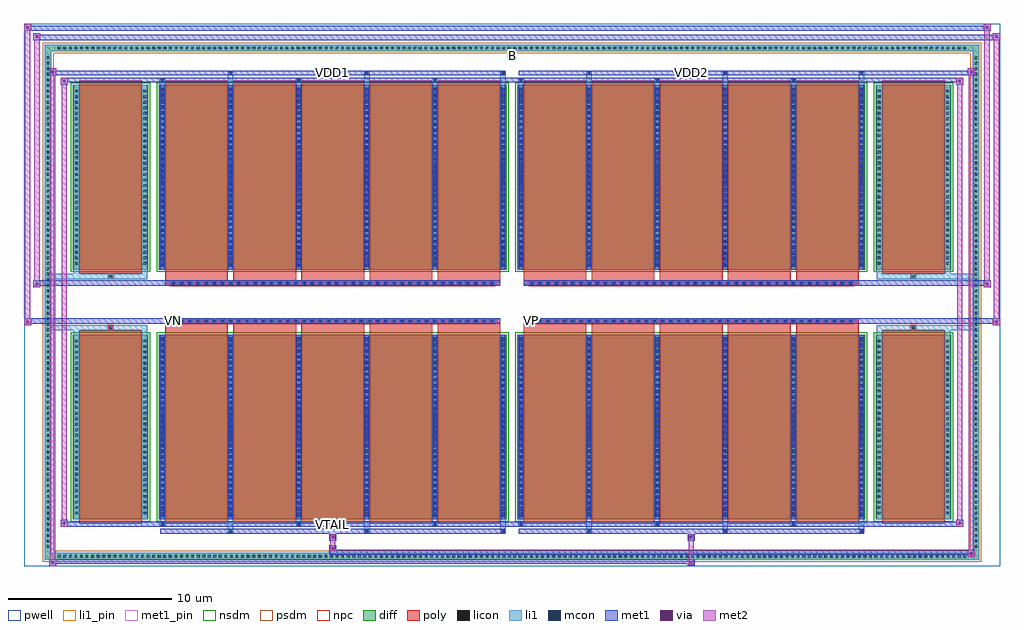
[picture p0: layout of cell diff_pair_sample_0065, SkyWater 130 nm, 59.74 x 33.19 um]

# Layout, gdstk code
import gdstk
lib = gdstk.Library(unit=1e-6, precision=5e-09)
def R(c, l, rs):  # rectangles x0, y0, x1, y1
    for r in rs: c.add(gdstk.rectangle(r[:2], r[2:], *l))
def A(c, l, x, y, w, h, nx, ny, dx, dy):  # array of equal rectangles
    R(c, l, [(x+i*dx, y+j*dy, x+i*dx+w, y+j*dy+h) for i in range(nx) for j in range(ny)])
def P(c, l, *ps):  # polygons
    for p in ps: c.add(gdstk.Polygon(p, *l))
pwell = (64, 44)
diff = (65, 20)
poly = (66, 20)
licon = (66, 44)
li1_pin = (67, 16)
li1 = (67, 20)
mcon = (67, 44)
met1_pin = (68, 16)
met1 = (68, 20)
via = (68, 44)
met2 = (69, 20)
nsdm = (93, 44)
psdm = (94, 20)
npc = (95, 20)

diff_pair_sample_0065 = lib.new_cell('diff_pair_sample_0065')
R(diff_pair_sample_0065, pwell, [(-29.87,-16.16,29.87,17.03), (-27.19,-14.35,-0.01,-0.795), (0.01,-14.35,27.19,-0.795), (-27.19,0.795,-0.01,14.35), (0.01,0.795,27.19,14.35)])
A(diff_pair_sample_0065, diff, -27.915, -15.76, 0.41, 0.41, 164, 2, 0.34, 31.11)
A(diff_pair_sample_0065, diff, -28.6, -15.165, 0.41, 0.41, 1, 89, 0, 0.34)
A(diff_pair_sample_0065, diff, 28.19, -15.165, 0.41, 0.41, 1, 89, 0, 0.34)
R(diff_pair_sample_0065, diff, [(-27.915,-15.76,27.915,-15.35), (-28.6,-15.165,-28.19,15.165), (28.19,-15.165,28.6,15.165), (-26.88,-13.305,-22.26,-1.985), (-21.62,-13.305,-0.32,-1.985), (0.32,-13.305,21.62,-1.985), (22.26,-13.305,26.88,-1.985), (-26.88,1.985,-22.26,13.305), (-21.62,1.985,-0.32,13.305), (0.32,1.985,21.62,13.305), (22.26,1.985,26.88,13.305), (-27.915,15.35,27.915,15.76)])
P(diff_pair_sample_0065, diff, [(28.6,15.76),(-28.6,15.76),(-28.6,-15.35),(-28.19,-15.35),(-28.19,15.35),(28.19,15.35),(28.19,-15.35),(-28.19,-15.35),(-28.6,-15.35),(-28.6,-15.76),(28.6,-15.76)])
A(diff_pair_sample_0065, poly, -21.23, -13.555, 3.84, 11.82, 5, 2, 4.17, 15.29)
A(diff_pair_sample_0065, poly, 0.71, -13.555, 3.84, 11.82, 5, 2, 4.17, 15.29)
A(diff_pair_sample_0065, poly, -21.23, -1.735, 3.84, 0.41, 5, 2, 4.17, 3.06)
A(diff_pair_sample_0065, poly, 0.71, -1.735, 3.84, 0.41, 5, 2, 4.17, 3.06)
A(diff_pair_sample_0065, poly, -20.885, -1.325, 0.33, 0.33, 40, 2, 0.5, 2.32)
A(diff_pair_sample_0065, poly, 1.055, -1.325, 0.33, 0.33, 40, 2, 0.5, 2.32)
R(diff_pair_sample_0065, poly, [(-26.49,-13.555,-22.65,-1.735), (22.65,-13.555,26.49,-1.735), (-24.735,-1.735,-24.405,-1.405), (-24.735,-1.735,-24.405,-1.405), (24.405,-1.735,24.735,-1.405), (24.405,-1.735,24.735,-1.405), (-21.23,-1.325,-0.71,-0.995), (0.71,-1.325,21.23,-0.995), (-21.23,0.995,-0.71,1.325), (0.71,0.995,21.23,1.325), (-24.735,1.405,-24.405,1.735), (-24.735,1.405,-24.405,1.735), (24.405,1.405,24.735,1.735), (24.405,1.405,24.735,1.735), (-26.49,1.735,-22.65,13.555), (22.65,1.735,26.49,13.555)])
A(diff_pair_sample_0065, licon, -27.795, -15.64, 0.17, 0.17, 164, 2, 0.34, 31.11)
A(diff_pair_sample_0065, licon, -28.48, -15.045, 0.17, 0.17, 1, 89, 0, 0.34)
A(diff_pair_sample_0065, licon, 28.31, -15.045, 0.17, 0.17, 1, 89, 0, 0.34)
A(diff_pair_sample_0065, licon, -26.74, -13, 0.17, 0.17, 1, 32, 0, 0.34)
A(diff_pair_sample_0065, licon, -22.57, -13, 0.17, 0.17, 1, 32, 0, 0.34)
A(diff_pair_sample_0065, licon, -21.48, -13, 0.17, 0.17, 6, 32, 4.17, 0.34)
A(diff_pair_sample_0065, licon, 0.46, -13, 0.17, 0.17, 6, 32, 4.17, 0.34)
A(diff_pair_sample_0065, licon, 22.4, -13, 0.17, 0.17, 1, 32, 0, 0.34)
A(diff_pair_sample_0065, licon, 26.57, -13, 0.17, 0.17, 1, 32, 0, 0.34)
A(diff_pair_sample_0065, licon, -20.805, -1.245, 0.17, 0.17, 40, 2, 0.5, 2.32)
A(diff_pair_sample_0065, licon, 1.135, -1.245, 0.17, 0.17, 40, 2, 0.5, 2.32)
A(diff_pair_sample_0065, licon, -26.74, 2.29, 0.17, 0.17, 1, 32, 0, 0.34)
A(diff_pair_sample_0065, licon, -22.57, 2.29, 0.17, 0.17, 1, 32, 0, 0.34)
A(diff_pair_sample_0065, licon, -21.48, 2.29, 0.17, 0.17, 6, 32, 4.17, 0.34)
A(diff_pair_sample_0065, licon, 0.46, 2.29, 0.17, 0.17, 6, 32, 4.17, 0.34)
A(diff_pair_sample_0065, licon, 22.4, 2.29, 0.17, 0.17, 1, 32, 0, 0.34)
A(diff_pair_sample_0065, licon, 26.57, 2.29, 0.17, 0.17, 1, 32, 0, 0.34)
R(diff_pair_sample_0065, licon, [(-24.655,-1.655,-24.485,-1.485), (24.485,-1.655,24.655,-1.485), (-24.655,1.485,-24.485,1.655), (24.485,1.485,24.655,1.655)])
R(diff_pair_sample_0065, li1_pin, [(-0.25,14.85,0.25,15.35)])
A(diff_pair_sample_0065, li1, -27.875, -15.72, 0.33, 0.33, 164, 2, 0.34, 31.11)
A(diff_pair_sample_0065, li1, -28.56, -15.125, 0.33, 0.33, 1, 89, 0, 0.34)
A(diff_pair_sample_0065, li1, 28.23, -15.125, 0.33, 0.33, 1, 89, 0, 0.34)
A(diff_pair_sample_0065, li1, -17.39, -14.11, 0.33, 0.805, 3, 2, 8.34, 27.415)
A(diff_pair_sample_0065, li1, -17.31, -14.11, 0.17, 0.17, 3, 2, 8.34, 28.05)
A(diff_pair_sample_0065, li1, 4.55, -14.11, 0.33, 0.805, 3, 2, 8.34, 27.415)
A(diff_pair_sample_0065, li1, 4.63, -14.11, 0.17, 0.17, 3, 2, 8.34, 28.05)
A(diff_pair_sample_0065, li1, -21.56, -13.68, 0.33, 0.375, 3, 2, 8.34, 26.985)
A(diff_pair_sample_0065, li1, -21.48, -13.68, 0.17, 0.17, 3, 2, 8.34, 27.19)
A(diff_pair_sample_0065, li1, 0.38, -13.68, 0.33, 0.375, 3, 2, 8.34, 26.985)
A(diff_pair_sample_0065, li1, 0.46, -13.68, 0.17, 0.17, 3, 2, 8.34, 27.19)
A(diff_pair_sample_0065, li1, -21.56, -13.305, 0.33, 11.32, 6, 2, 4.17, 15.29)
A(diff_pair_sample_0065, li1, 0.38, -13.305, 0.33, 11.32, 6, 2, 4.17, 15.29)
A(diff_pair_sample_0065, li1, -21.48, -13.13, 0.17, 0.17, 6, 31, 4.17, 0.36)
A(diff_pair_sample_0065, li1, -21.48, -13.13, 0.17, 10.97, 6, 2, 4.17, 15.29)
A(diff_pair_sample_0065, li1, 0.46, -13.13, 0.17, 0.17, 6, 31, 4.17, 0.36)
A(diff_pair_sample_0065, li1, 0.46, -13.13, 0.17, 10.97, 6, 2, 4.17, 15.29)
A(diff_pair_sample_0065, li1, -26.82, -13.08, 0.33, 0.33, 1, 32, 0, 0.34)
A(diff_pair_sample_0065, li1, -22.65, -13.08, 0.33, 0.33, 1, 32, 0, 0.34)
A(diff_pair_sample_0065, li1, -21.56, -13.08, 0.33, 0.33, 6, 32, 4.17, 0.34)
A(diff_pair_sample_0065, li1, 0.38, -13.08, 0.33, 0.33, 6, 32, 4.17, 0.34)
A(diff_pair_sample_0065, li1, 22.32, -13.08, 0.33, 0.33, 1, 32, 0, 0.34)
A(diff_pair_sample_0065, li1, 26.49, -13.08, 0.33, 0.33, 1, 32, 0, 0.34)
A(diff_pair_sample_0065, li1, -20.885, -1.325, 0.33, 0.33, 40, 2, 0.5, 2.32)
A(diff_pair_sample_0065, li1, 1.055, -1.325, 0.33, 0.33, 40, 2, 0.5, 2.32)
A(diff_pair_sample_0065, li1, -21.48, 2.16, 0.17, 0.17, 6, 31, 4.17, 0.36)
A(diff_pair_sample_0065, li1, 0.46, 2.16, 0.17, 0.17, 6, 31, 4.17, 0.36)
A(diff_pair_sample_0065, li1, -26.82, 2.21, 0.33, 0.33, 1, 32, 0, 0.34)
A(diff_pair_sample_0065, li1, -22.65, 2.21, 0.33, 0.33, 1, 32, 0, 0.34)
A(diff_pair_sample_0065, li1, -21.56, 2.21, 0.33, 0.33, 6, 32, 4.17, 0.34)
A(diff_pair_sample_0065, li1, 0.38, 2.21, 0.33, 0.33, 6, 32, 4.17, 0.34)
A(diff_pair_sample_0065, li1, 22.32, 2.21, 0.33, 0.33, 1, 32, 0, 0.34)
A(diff_pair_sample_0065, li1, 26.49, 2.21, 0.33, 0.33, 1, 32, 0, 0.34)
R(diff_pair_sample_0065, li1, [(-28.6,-15.76,-28.19,-15.35), (-28.6,-15.76,-28.19,-15.35), (-28.19,-15.76,28.19,-15.35), (28.19,-15.76,28.6,-15.35), (28.19,-15.76,28.6,-15.35), (-28.6,-15.35,-28.19,15.35), (28.19,-15.35,28.6,15.35), (-26.82,-13.305,-26.49,-1.985), (-22.65,-13.305,-22.32,-1.985), (22.32,-13.305,22.65,-1.985), (26.49,-13.305,26.82,-1.985), (-26.82,-1.985,-26.49,-1.405), (-22.65,-1.985,-22.32,-1.405), (22.32,-1.985,22.65,-1.405), (26.49,-1.985,26.82,-1.405), (-28.6,-1.735,-24.735,-1.405), (-26.82,-1.735,-24.735,-1.405), (-24.735,-1.735,-24.405,-1.405), (-24.405,-1.735,-22.32,-1.405), (22.32,-1.735,24.405,-1.405), (24.405,-1.735,24.735,-1.405), (24.405,-1.735,28.6,-1.405), (24.735,-1.735,26.82,-1.405), (-28.6,1.405,-24.735,1.735), (-26.82,1.405,-24.735,1.735), (-26.82,1.405,-26.49,1.985), (-24.735,1.405,-24.405,1.735), (-24.405,1.405,-22.32,1.735), (-22.65,1.405,-22.32,1.985), (22.32,1.405,24.405,1.735), (22.32,1.405,22.65,1.985), (24.405,1.405,24.735,1.735), (24.405,1.405,28.6,1.735), (24.735,1.405,26.82,1.735), (26.49,1.405,26.82,1.985), (-26.82,1.985,-26.49,13.305), (-22.65,1.985,-22.32,13.305), (22.32,1.985,22.65,13.305), (26.49,1.985,26.82,13.305), (-28.6,15.35,-28.19,15.76), (-28.6,15.35,-28.19,15.76), (-28.19,15.35,28.19,15.76), (28.19,15.35,28.6,15.76), (28.19,15.35,28.6,15.76)])
A(diff_pair_sample_0065, mcon, -17.31, -14.11, 0.17, 0.17, 3, 2, 8.34, 28.05)
A(diff_pair_sample_0065, mcon, 4.63, -14.11, 0.17, 0.17, 3, 2, 8.34, 28.05)
A(diff_pair_sample_0065, mcon, -21.48, -13.68, 0.17, 0.17, 3, 2, 8.34, 27.19)
A(diff_pair_sample_0065, mcon, 0.46, -13.68, 0.17, 0.17, 3, 2, 8.34, 27.19)
A(diff_pair_sample_0065, mcon, -21.48, -13.13, 0.17, 0.17, 6, 31, 4.17, 0.36)
A(diff_pair_sample_0065, mcon, 0.46, -13.13, 0.17, 0.17, 6, 31, 4.17, 0.36)
A(diff_pair_sample_0065, mcon, -20.805, -1.245, 0.17, 0.17, 40, 2, 0.5, 2.32)
A(diff_pair_sample_0065, mcon, 1.135, -1.245, 0.17, 0.17, 40, 2, 0.5, 2.32)
A(diff_pair_sample_0065, mcon, -21.48, 2.16, 0.17, 0.17, 6, 31, 4.17, 0.36)
A(diff_pair_sample_0065, mcon, 0.46, 2.16, 0.17, 0.17, 6, 31, 4.17, 0.36)
R(diff_pair_sample_0065, met1_pin, [(-11.105,-13.72,-10.835,-13.45), (-20.855,-1.285,-20.585,-1.015), (1.085,-1.285,1.355,-1.015), (-11.105,13.9,-10.835,14.17), (10.835,13.9,11.105,14.17)])
A(diff_pair_sample_0065, met1, -17.37, -14.17, 0.29, 0.29, 3, 2, 8.34, 28.05)
A(diff_pair_sample_0065, met1, 4.57, -14.17, 0.29, 0.29, 3, 2, 8.34, 28.05)
A(diff_pair_sample_0065, met1, -21.54, -13.74, 0.29, 0.29, 3, 2, 8.34, 27.19)
A(diff_pair_sample_0065, met1, 0.4, -13.74, 0.29, 0.29, 3, 2, 8.34, 27.19)
A(diff_pair_sample_0065, met1, -21.54, -13.305, 0.29, 11.32, 6, 2, 4.17, 15.29)
A(diff_pair_sample_0065, met1, 0.4, -13.305, 0.29, 11.32, 6, 2, 4.17, 15.29)
A(diff_pair_sample_0065, met1, -21.54, -13.19, 0.29, 0.29, 6, 31, 4.17, 0.36)
A(diff_pair_sample_0065, met1, 0.4, -13.19, 0.29, 0.29, 6, 31, 4.17, 0.36)
A(diff_pair_sample_0065, met1, -20.865, -1.305, 0.29, 0.29, 40, 2, 0.5, 2.32)
A(diff_pair_sample_0065, met1, 1.075, -1.305, 0.29, 0.29, 40, 2, 0.5, 2.32)
A(diff_pair_sample_0065, met1, -21.54, 2.1, 0.29, 0.29, 6, 31, 4.17, 0.36)
A(diff_pair_sample_0065, met1, 0.4, 2.1, 0.29, 0.29, 6, 31, 4.17, 0.36)
R(diff_pair_sample_0065, met1, [(-28.33,-16.16,-27.9,-15.73), (10.755,-16.16,11.185,-15.73), (-28.33,-16.02,11.185,-15.73), (27.9,-15.59,28.33,-15.16), (-11.185,-15.45,28.33,-15.16), (-11.185,-15.31,-10.755,-14.88), (-11.185,-14.6,-10.755,-14.17), (10.755,-14.6,11.185,-14.17), (-21.54,-14.17,-0.4,-13.88), (0.4,-14.17,21.54,-13.88), (-27.62,-13.74,-27.19,-13.31), (-27.62,-13.74,-21.54,-13.45), (-21.54,-13.74,-0.4,-13.45), (-0.4,-13.74,0.4,-13.45), (0.4,-13.74,21.54,-13.45), (21.54,-13.74,27.62,-13.45), (27.19,-13.74,27.62,-13.31), (-29.87,-1.425,-29.44,-0.995), (29.44,-1.425,29.87,-0.995), (-29.87,-1.325,-0.71,-0.995), (-21.23,-1.325,-0.71,-0.995), (0.71,-1.325,21.23,-0.995), (0.71,-1.325,29.87,-0.995), (-29.3,0.895,-28.87,1.325), (28.87,0.895,29.3,1.325), (-29.3,0.995,-21.23,1.325), (-21.23,0.995,-0.71,1.325), (0.71,0.995,21.23,1.325), (21.23,0.995,29.3,1.325), (-27.62,13.31,-27.19,13.74), (27.19,13.31,27.62,13.74), (-27.62,13.45,-21.54,13.74), (-21.54,13.45,-0.4,13.74), (-0.4,13.45,0.4,13.74), (0.4,13.45,21.54,13.74), (21.54,13.45,27.62,13.74), (-28.33,13.88,-27.9,14.31), (-28.33,13.88,-21.54,14.17), (-21.54,13.88,-0.4,14.17), (0.4,13.88,21.54,14.17), (21.54,13.88,28.33,14.17), (27.9,13.88,28.33,14.31), (-29.3,16.03,-28.87,16.46), (-29.3,16.03,-27.19,16.36), (-27.19,16.03,27.19,16.36), (27.19,16.03,29.87,16.36), (29.44,16.03,29.87,16.46), (-29.87,16.6,-29.44,17.03), (-29.87,16.6,-27.19,16.93), (-27.19,16.6,27.19,16.93), (27.19,16.6,29.3,16.93), (28.87,16.6,29.3,17.03)])
R(diff_pair_sample_0065, via, [(-28.19,-16.02,-28.04,-15.87), (10.895,-16.02,11.045,-15.87), (28.04,-15.45,28.19,-15.3), (-11.045,-15.17,-10.895,-15.02), (-11.045,-14.46,-10.895,-14.31), (10.895,-14.46,11.045,-14.31), (-27.48,-13.6,-27.33,-13.45), (27.33,-13.6,27.48,-13.45), (-29.73,-1.285,-29.58,-1.135), (29.58,-1.285,29.73,-1.135), (-29.16,1.035,-29.01,1.185), (29.01,1.035,29.16,1.185), (-27.48,13.45,-27.33,13.6), (27.33,13.45,27.48,13.6), (-28.19,14.02,-28.04,14.17), (28.04,14.02,28.19,14.17), (-29.16,16.17,-29.01,16.32), (29.58,16.17,29.73,16.32), (-29.73,16.74,-29.58,16.89), (29.01,16.74,29.16,16.89)])
R(diff_pair_sample_0065, met2, [(-28.33,-16.16,-27.9,-15.73), (-28.26,-16.16,-27.97,14.31), (-27.97,-16.16,-27.9,-15.73), (-28.28,-16.11,-27.95,-15.78), (10.805,-16.11,11.135,-15.78), (10.805,-15.78,11.135,-14.55), (27.9,-15.59,28.33,-15.16), (27.97,-15.59,28.26,14.31), (28.26,-15.59,28.33,-15.16), (27.95,-15.54,28.28,-15.21), (-11.135,-15.26,-10.805,-14.93), (-11.135,-14.93,-10.805,-14.55), (-11.135,-14.55,-10.805,-14.22), (10.805,-14.55,11.135,-14.22), (-27.62,-13.74,-27.19,-13.31), (-27.55,-13.74,-27.26,13.74), (-27.26,-13.74,-27.19,-13.31), (27.19,-13.74,27.62,-13.31), (27.26,-13.74,27.55,13.74), (27.55,-13.74,27.62,-13.31), (-27.57,-13.69,-27.24,-13.36), (27.24,-13.69,27.57,-13.36), (-29.87,-1.425,-29.44,-0.995), (-29.82,-1.425,-29.49,17.03), (-29.49,-1.425,-29.44,-0.995), (29.44,-1.425,29.87,-0.995), (29.49,-1.425,29.82,16.46), (29.82,-1.425,29.87,-0.995), (-29.82,-1.375,-29.49,-1.045), (29.49,-1.375,29.82,-1.045), (-29.3,0.895,-28.87,1.325), (-29.25,0.895,-28.92,16.46), (-28.92,0.895,-28.87,1.325), (28.87,0.895,29.3,1.325), (28.92,0.895,29.25,17.03), (29.25,0.895,29.3,1.325), (-29.25,0.945,-28.92,1.275), (28.92,0.945,29.25,1.275), (-27.62,13.31,-27.19,13.74), (-27.26,13.31,-27.19,13.74), (27.19,13.31,27.62,13.74), (27.55,13.31,27.62,13.74), (-27.57,13.36,-27.24,13.69), (27.24,13.36,27.57,13.69), (-28.33,13.88,-27.9,14.31), (-27.97,13.88,-27.9,14.31), (27.9,13.88,28.33,14.31), (28.26,13.88,28.33,14.31), (-28.28,13.93,-27.95,14.26), (27.95,13.93,28.28,14.26), (-29.3,16.03,-28.87,16.46), (-28.92,16.03,-28.87,16.46), (29.44,16.03,29.87,16.46), (29.82,16.03,29.87,16.46), (-29.25,16.08,-28.92,16.41), (29.49,16.08,29.82,16.41), (-29.87,16.6,-29.44,17.03), (-29.49,16.6,-29.44,17.03), (28.87,16.6,29.3,17.03), (29.25,16.6,29.3,17.03), (-29.82,16.65,-29.49,16.98), (28.92,16.65,29.25,16.98)])
R(diff_pair_sample_0065, nsdm, [(-27.01,-13.435,-22.13,-1.855), (-21.75,-13.435,-0.19,-1.855), (0.19,-13.435,21.75,-1.855), (22.13,-13.435,27.01,-1.855), (-27.01,1.855,-22.13,13.435), (-21.75,1.855,-0.19,13.435), (0.19,1.855,21.75,13.435), (22.13,1.855,27.01,13.435)])
P(diff_pair_sample_0065, psdm, [(28.73,15.89),(-28.73,15.89),(-28.73,-15.22),(-28.06,-15.22),(-28.06,15.22),(28.06,15.22),(28.06,-15.22),(-28.06,-15.22),(-28.73,-15.22),(-28.73,-15.89),(28.73,-15.89)])
A(diff_pair_sample_0065, npc, -20.905, -1.345, 0.37, 0.37, 40, 2, 0.5, 2.32)
A(diff_pair_sample_0065, npc, 1.035, -1.345, 0.37, 0.37, 40, 2, 0.5, 2.32)
R(diff_pair_sample_0065, npc, [(-24.755,-1.755,-24.385,-1.385), (24.385,-1.755,24.755,-1.385), (-20.905,-1.345,-20.035,-0.975), (-20.905,-1.345,-20.035,-0.975), (-20.405,-1.345,-19.535,-0.975), (-20.405,-1.345,-19.535,-0.975), (-19.905,-1.345,-19.035,-0.975), (-19.905,-1.345,-19.035,-0.975), (-19.405,-1.345,-18.535,-0.975), (-19.405,-1.345,-18.535,-0.975), (-18.905,-1.345,-18.035,-0.975), (-18.905,-1.345,-18.035,-0.975), (-18.405,-1.345,-17.535,-0.975), (-18.405,-1.345,-17.535,-0.975), (-17.905,-1.345,-17.035,-0.975), (-17.905,-1.345,-17.035,-0.975), (-17.405,-1.345,-16.535,-0.975), (-17.405,-1.345,-16.535,-0.975), (-16.905,-1.345,-16.035,-0.975), (-16.905,-1.345,-16.035,-0.975), (-16.405,-1.345,-15.535,-0.975), (-16.405,-1.345,-15.535,-0.975), (-15.905,-1.345,-15.035,-0.975), (-15.905,-1.345,-15.035,-0.975), (-15.405,-1.345,-14.535,-0.975), (-15.405,-1.345,-14.535,-0.975), (-14.905,-1.345,-14.035,-0.975), (-14.905,-1.345,-14.035,-0.975), (-14.405,-1.345,-13.535,-0.975), (-14.405,-1.345,-13.535,-0.975), (-13.905,-1.345,-13.035,-0.975), (-13.905,-1.345,-13.035,-0.975), (-13.405,-1.345,-12.535,-0.975), (-13.405,-1.345,-12.535,-0.975), (-12.905,-1.345,-12.035,-0.975), (-12.905,-1.345,-12.035,-0.975), (-12.405,-1.345,-11.535,-0.975), (-12.405,-1.345,-11.535,-0.975), (-11.905,-1.345,-11.035,-0.975), (-11.905,-1.345,-11.035,-0.975), (-11.405,-1.345,-10.535,-0.975), (-11.405,-1.345,-10.535,-0.975), (-10.905,-1.345,-10.035,-0.975), (-10.905,-1.345,-10.035,-0.975), (-10.405,-1.345,-9.535,-0.975), (-10.405,-1.345,-9.535,-0.975), (-9.905,-1.345,-9.035,-0.975), (-9.905,-1.345,-9.035,-0.975), (-9.405,-1.345,-8.535,-0.975), (-9.405,-1.345,-8.535,-0.975), (-8.905,-1.345,-8.035,-0.975), (-8.905,-1.345,-8.035,-0.975), (-8.405,-1.345,-7.535,-0.975), (-8.405,-1.345,-7.535,-0.975), (-7.905,-1.345,-7.035,-0.975), (-7.905,-1.345,-7.035,-0.975), (-7.405,-1.345,-6.535,-0.975), (-7.405,-1.345,-6.535,-0.975), (-6.905,-1.345,-6.035,-0.975), (-6.905,-1.345,-6.035,-0.975), (-6.405,-1.345,-5.535,-0.975), (-6.405,-1.345,-5.535,-0.975), (-5.905,-1.345,-5.035,-0.975), (-5.905,-1.345,-5.035,-0.975), (-5.405,-1.345,-4.535,-0.975), (-5.405,-1.345,-4.535,-0.975), (-4.905,-1.345,-4.035,-0.975), (-4.905,-1.345,-4.035,-0.975), (-4.405,-1.345,-3.535,-0.975), (-4.405,-1.345,-3.535,-0.975), (-3.905,-1.345,-3.035,-0.975), (-3.905,-1.345,-3.035,-0.975), (-3.405,-1.345,-2.535,-0.975), (-3.405,-1.345,-2.535,-0.975), (-2.905,-1.345,-2.035,-0.975), (-2.905,-1.345,-2.035,-0.975), (-2.405,-1.345,-1.535,-0.975), (-2.405,-1.345,-1.535,-0.975), (-1.905,-1.345,-1.035,-0.975), (-1.905,-1.345,-1.035,-0.975), (1.035,-1.345,1.905,-0.975), (1.035,-1.345,1.905,-0.975), (1.535,-1.345,2.405,-0.975), (1.535,-1.345,2.405,-0.975), (2.035,-1.345,2.905,-0.975), (2.035,-1.345,2.905,-0.975), (2.535,-1.345,3.405,-0.975), (2.535,-1.345,3.405,-0.975), (3.035,-1.345,3.905,-0.975), (3.035,-1.345,3.905,-0.975), (3.535,-1.345,4.405,-0.975), (3.535,-1.345,4.405,-0.975), (4.035,-1.345,4.905,-0.975), (4.035,-1.345,4.905,-0.975), (4.535,-1.345,5.405,-0.975), (4.535,-1.345,5.405,-0.975), (5.035,-1.345,5.905,-0.975), (5.035,-1.345,5.905,-0.975), (5.535,-1.345,6.405,-0.975), (5.535,-1.345,6.405,-0.975), (6.035,-1.345,6.905,-0.975), (6.035,-1.345,6.905,-0.975), (6.535,-1.345,7.405,-0.975), (6.535,-1.345,7.405,-0.975), (7.035,-1.345,7.905,-0.975), (7.035,-1.345,7.905,-0.975), (7.535,-1.345,8.405,-0.975), (7.535,-1.345,8.405,-0.975), (8.035,-1.345,8.905,-0.975), (8.035,-1.345,8.905,-0.975), (8.535,-1.345,9.405,-0.975), (8.535,-1.345,9.405,-0.975), (9.035,-1.345,9.905,-0.975), (9.035,-1.345,9.905,-0.975), (9.535,-1.345,10.405,-0.975), (9.535,-1.345,10.405,-0.975), (10.035,-1.345,10.905,-0.975), (10.035,-1.345,10.905,-0.975), (10.535,-1.345,11.405,-0.975), (10.535,-1.345,11.405,-0.975), (11.035,-1.345,11.905,-0.975), (11.035,-1.345,11.905,-0.975), (11.535,-1.345,12.405,-0.975), (11.535,-1.345,12.405,-0.975), (12.035,-1.345,12.905,-0.975), (12.035,-1.345,12.905,-0.975), (12.535,-1.345,13.405,-0.975), (12.535,-1.345,13.405,-0.975), (13.035,-1.345,13.905,-0.975), (13.035,-1.345,13.905,-0.975), (13.535,-1.345,14.405,-0.975), (13.535,-1.345,14.405,-0.975), (14.035,-1.345,14.905,-0.975), (14.035,-1.345,14.905,-0.975), (14.535,-1.345,15.405,-0.975), (14.535,-1.345,15.405,-0.975), (15.035,-1.345,15.905,-0.975), (15.035,-1.345,15.905,-0.975), (15.535,-1.345,16.405,-0.975), (15.535,-1.345,16.405,-0.975), (16.035,-1.345,16.905,-0.975), (16.035,-1.345,16.905,-0.975), (16.535,-1.345,17.405,-0.975), (16.535,-1.345,17.405,-0.975), (17.035,-1.345,17.905,-0.975), (17.035,-1.345,17.905,-0.975), (17.535,-1.345,18.405,-0.975), (17.535,-1.345,18.405,-0.975), (18.035,-1.345,18.905,-0.975), (18.035,-1.345,18.905,-0.975), (18.535,-1.345,19.405,-0.975), (18.535,-1.345,19.405,-0.975), (19.035,-1.345,19.905,-0.975), (19.035,-1.345,19.905,-0.975), (19.535,-1.345,20.405,-0.975), (19.535,-1.345,20.405,-0.975), (20.035,-1.345,20.905,-0.975), (20.035,-1.345,20.905,-0.975), (-20.905,0.975,-20.035,1.345), (-20.905,0.975,-20.035,1.345), (-20.405,0.975,-19.535,1.345), (-20.405,0.975,-19.535,1.345), (-19.905,0.975,-19.035,1.345), (-19.905,0.975,-19.035,1.345), (-19.405,0.975,-18.535,1.345), (-19.405,0.975,-18.535,1.345), (-18.905,0.975,-18.035,1.345), (-18.905,0.975,-18.035,1.345), (-18.405,0.975,-17.535,1.345), (-18.405,0.975,-17.535,1.345), (-17.905,0.975,-17.035,1.345), (-17.905,0.975,-17.035,1.345), (-17.405,0.975,-16.535,1.345), (-17.405,0.975,-16.535,1.345), (-16.905,0.975,-16.035,1.345), (-16.905,0.975,-16.035,1.345), (-16.405,0.975,-15.535,1.345), (-16.405,0.975,-15.535,1.345), (-15.905,0.975,-15.035,1.345), (-15.905,0.975,-15.035,1.345), (-15.405,0.975,-14.535,1.345), (-15.405,0.975,-14.535,1.345), (-14.905,0.975,-14.035,1.345), (-14.905,0.975,-14.035,1.345), (-14.405,0.975,-13.535,1.345), (-14.405,0.975,-13.535,1.345), (-13.905,0.975,-13.035,1.345), (-13.905,0.975,-13.035,1.345), (-13.405,0.975,-12.535,1.345), (-13.405,0.975,-12.535,1.345), (-12.905,0.975,-12.035,1.345), (-12.905,0.975,-12.035,1.345), (-12.405,0.975,-11.535,1.345), (-12.405,0.975,-11.535,1.345), (-11.905,0.975,-11.035,1.345), (-11.905,0.975,-11.035,1.345), (-11.405,0.975,-10.535,1.345), (-11.405,0.975,-10.535,1.345), (-10.905,0.975,-10.035,1.345), (-10.905,0.975,-10.035,1.345), (-10.405,0.975,-9.535,1.345), (-10.405,0.975,-9.535,1.345), (-9.905,0.975,-9.035,1.345), (-9.905,0.975,-9.035,1.345), (-9.405,0.975,-8.535,1.345), (-9.405,0.975,-8.535,1.345), (-8.905,0.975,-8.035,1.345), (-8.905,0.975,-8.035,1.345), (-8.405,0.975,-7.535,1.345), (-8.405,0.975,-7.535,1.345), (-7.905,0.975,-7.035,1.345), (-7.905,0.975,-7.035,1.345), (-7.405,0.975,-6.535,1.345), (-7.405,0.975,-6.535,1.345), (-6.905,0.975,-6.035,1.345), (-6.905,0.975,-6.035,1.345), (-6.405,0.975,-5.535,1.345), (-6.405,0.975,-5.535,1.345), (-5.905,0.975,-5.035,1.345), (-5.905,0.975,-5.035,1.345), (-5.405,0.975,-4.535,1.345), (-5.405,0.975,-4.535,1.345), (-4.905,0.975,-4.035,1.345), (-4.905,0.975,-4.035,1.345), (-4.405,0.975,-3.535,1.345), (-4.405,0.975,-3.535,1.345), (-3.905,0.975,-3.035,1.345), (-3.905,0.975,-3.035,1.345), (-3.405,0.975,-2.535,1.345), (-3.405,0.975,-2.535,1.345), (-2.905,0.975,-2.035,1.345), (-2.905,0.975,-2.035,1.345), (-2.405,0.975,-1.535,1.345), (-2.405,0.975,-1.535,1.345), (-1.905,0.975,-1.035,1.345), (-1.905,0.975,-1.035,1.345), (1.035,0.975,1.905,1.345), (1.035,0.975,1.905,1.345), (1.535,0.975,2.405,1.345), (1.535,0.975,2.405,1.345), (2.035,0.975,2.905,1.345), (2.035,0.975,2.905,1.345), (2.535,0.975,3.405,1.345), (2.535,0.975,3.405,1.345), (3.035,0.975,3.905,1.345), (3.035,0.975,3.905,1.345), (3.535,0.975,4.405,1.345), (3.535,0.975,4.405,1.345), (4.035,0.975,4.905,1.345), (4.035,0.975,4.905,1.345), (4.535,0.975,5.405,1.345), (4.535,0.975,5.405,1.345), (5.035,0.975,5.905,1.345), (5.035,0.975,5.905,1.345), (5.535,0.975,6.405,1.345), (5.535,0.975,6.405,1.345), (6.035,0.975,6.905,1.345), (6.035,0.975,6.905,1.345), (6.535,0.975,7.405,1.345), (6.535,0.975,7.405,1.345), (7.035,0.975,7.905,1.345), (7.035,0.975,7.905,1.345), (7.535,0.975,8.405,1.345), (7.535,0.975,8.405,1.345), (8.035,0.975,8.905,1.345), (8.035,0.975,8.905,1.345), (8.535,0.975,9.405,1.345), (8.535,0.975,9.405,1.345), (9.035,0.975,9.905,1.345), (9.035,0.975,9.905,1.345), (9.535,0.975,10.405,1.345), (9.535,0.975,10.405,1.345), (10.035,0.975,10.905,1.345), (10.035,0.975,10.905,1.345), (10.535,0.975,11.405,1.345), (10.535,0.975,11.405,1.345), (11.035,0.975,11.905,1.345), (11.035,0.975,11.905,1.345), (11.535,0.975,12.405,1.345), (11.535,0.975,12.405,1.345), (12.035,0.975,12.905,1.345), (12.035,0.975,12.905,1.345), (12.535,0.975,13.405,1.345), (12.535,0.975,13.405,1.345), (13.035,0.975,13.905,1.345), (13.035,0.975,13.905,1.345), (13.535,0.975,14.405,1.345), (13.535,0.975,14.405,1.345), (14.035,0.975,14.905,1.345), (14.035,0.975,14.905,1.345), (14.535,0.975,15.405,1.345), (14.535,0.975,15.405,1.345), (15.035,0.975,15.905,1.345), (15.035,0.975,15.905,1.345), (15.535,0.975,16.405,1.345), (15.535,0.975,16.405,1.345), (16.035,0.975,16.905,1.345), (16.035,0.975,16.905,1.345), (16.535,0.975,17.405,1.345), (16.535,0.975,17.405,1.345), (17.035,0.975,17.905,1.345), (17.035,0.975,17.905,1.345), (17.535,0.975,18.405,1.345), (17.535,0.975,18.405,1.345), (18.035,0.975,18.905,1.345), (18.035,0.975,18.905,1.345), (18.535,0.975,19.405,1.345), (18.535,0.975,19.405,1.345), (19.035,0.975,19.905,1.345), (19.035,0.975,19.905,1.345), (19.535,0.975,20.405,1.345), (19.535,0.975,20.405,1.345), (20.035,0.975,20.905,1.345), (20.035,0.975,20.905,1.345), (-24.755,1.385,-24.385,1.755), (24.385,1.385,24.755,1.755)])
diff_pair_sample_0065.add(gdstk.Label('VTAIL', (-10.97,-13.585), layer=68, texttype=5))
diff_pair_sample_0065.add(gdstk.Label('VN', (-20.72,-1.15), layer=68, texttype=5))
diff_pair_sample_0065.add(gdstk.Label('VP', (1.22,-1.15), layer=68, texttype=5))
diff_pair_sample_0065.add(gdstk.Label('B', (0,15.1), layer=67, texttype=5))
diff_pair_sample_0065.add(gdstk.Label('VDD2', (10.97,14.035), layer=68, texttype=5))
diff_pair_sample_0065.add(gdstk.Label('VDD1', (-10.97,14.035), layer=68, texttype=5))

lib.write_gds('diff_pair_sample_0065.gds')
